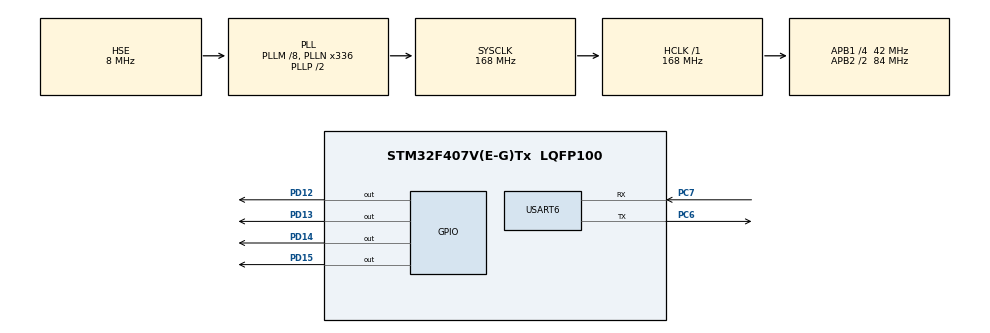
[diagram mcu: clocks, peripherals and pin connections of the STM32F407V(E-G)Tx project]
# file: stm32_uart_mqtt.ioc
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Mcu.Family=STM32F4
Mcu.Name=STM32F407V(E-G)Tx
Mcu.Package=LQFP100
NVIC.PriorityGroup=NVIC_PRIORITYGROUP_0
NVIC.USART6_IRQn=true\:0\:0\:false\:false\:true\:true
PC6.Mode=Asynchronous
PC6.Signal=USART6_TX
PC7.Mode=Asynchronous
PC7.Signal=USART6_RX
PD12.Signal=GPIO_Output
PD13.Signal=GPIO_Output
PD14.Signal=GPIO_Output
PD15.Signal=GPIO_Output
PH0-OSC_IN.Mode=HSE-External-Oscillator
PH0-OSC_IN.Signal=RCC_OSC_IN
PH1-OSC_OUT.Mode=HSE-External-Oscillator
PH1-OSC_OUT.Signal=RCC_OSC_OUT
ProjectManager.HeapSize=0x200
ProjectManager.StackSize=0x400
ProjectManager.TargetToolchain=SW4STM32
RCC.48MHZClocksFreq_Value=48000000
RCC.AHBFreq_Value=168000000
RCC.APB1CLKDivider=RCC_HCLK_DIV4
RCC.APB1Freq_Value=42000000
RCC.APB1TimFreq_Value=84000000
RCC.APB2CLKDivider=RCC_HCLK_DIV2
RCC.APB2Freq_Value=84000000
RCC.APB2TimFreq_Value=168000000
RCC.CortexFreq_Value=168000000
RCC.HCLKFreq_Value=168000000
RCC.HSE_VALUE=8000000
RCC.HSI_VALUE=16000000
RCC.LSE_VALUE=32768
RCC.PLLM=8
RCC.PLLN=336
RCC.PLLQ=7
RCC.PLLSourceVirtual=RCC_PLLSOURCE_HSE
RCC.SYSCLKFreq_VALUE=168000000
RCC.SYSCLKSource=RCC_SYSCLKSOURCE_PLLCLK
RCC.VCOOutputFreq_Value=336000000
USART6.VirtualMode=VM_ASYNC
board=STM32F4DISCOVERY

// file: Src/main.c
/**
 ******************************************************************************
 * File Name          : main.c
 * Description        : Main program body
 ******************************************************************************
 ** This notice applies to any and all portions of this file
 * that are not between comment pairs USER CODE BEGIN and
 * USER CODE END. Other portions of this file, whether
 * inserted by the user or by software development tools
 * are owned by their respective copyright owners.
 *
 * COPYRIGHT(c) 2017 STMicroelectronics
 *
 * Redistribution and use in source and binary forms, with or without modification,
 * are permitted provided that the following conditions are met:
 *   1. Redistributions of source code must retain the above copyright notice,
 *      this list of conditions and the following disclaimer.
 *   2. Redistributions in binary form must reproduce the above copyright notice,
 *      this list of conditions and the following disclaimer in the documentation
 *      and/or other materials provided with the distribution.
 *   3. Neither the name of STMicroelectronics nor the names of its contributors
 *      may be used to endorse or promote products derived from this software
 *      without specific prior written permission.
 *
 * THIS SOFTWARE IS PROVIDED BY THE COPYRIGHT HOLDERS AND CONTRIBUTORS "AS IS"
 * AND ANY EXPRESS OR IMPLIED WARRANTIES, INCLUDING, BUT NOT LIMITED TO, THE
 * IMPLIED WARRANTIES OF MERCHANTABILITY AND FITNESS FOR A PARTICULAR PURPOSE ARE
 * DISCLAIMED. IN NO EVENT SHALL THE COPYRIGHT HOLDER OR CONTRIBUTORS BE LIABLE
 * FOR ANY DIRECT, INDIRECT, INCIDENTAL, SPECIAL, EXEMPLARY, OR CONSEQUENTIAL
 * DAMAGES (INCLUDING, BUT NOT LIMITED TO, PROCUREMENT OF SUBSTITUTE GOODS OR
 * SERVICES; LOSS OF USE, DATA, OR PROFITS; OR BUSINESS INTERRUPTION) HOWEVER
 * CAUSED AND ON ANY THEORY OF LIABILITY, WHETHER IN CONTRACT, STRICT LIABILITY,
 * OR TORT (INCLUDING NEGLIGENCE OR OTHERWISE) ARISING IN ANY WAY OUT OF THE USE
 * OF THIS SOFTWARE, EVEN IF ADVISED OF THE POSSIBILITY OF SUCH DAMAGE.
 *
 ******************************************************************************
 */

#include "main.h"
#include "stm32f4xx_hal.h"

/* USER CODE BEGIN Includes */
/* Size of buffer */
#define TXBUFFERSIZE                      (COUNTOF(aTxBuffer) - 1)
#define COUNTOF(__BUFFER__)   (sizeof(__BUFFER__) / sizeof(*(__BUFFER__)))
/* USER CODE END Includes */

UART_HandleTypeDef huart6;

/* USER CODE BEGIN PV */
/* Private variables ---------------------------------------------------------*/
__IO ITStatus UartReady = RESET;
uint8_t TxRxData[5] = "12345";
/* USER CODE END PV */

void SystemClock_Config(void);
static void MX_GPIO_Init(void);
static void MX_USART6_UART_Init(void);

/* USER CODE BEGIN PFP */
/* Private function prototypes -----------------------------------------------*/

/* USER CODE END PFP */

int main(void)
{

	/* MCU Configuration----------------------------------------------------------*/

	/* Reset of all peripherals, Initializes the Flash interface and the Systick. */
	HAL_Init();

	/* Configure the system clock */
	SystemClock_Config();

	/* Initialize all configured peripherals */
	MX_GPIO_Init();
	MX_USART6_UART_Init();

	/* USER CODE BEGIN 2 */
	/* Reset transmission flag */
	UartReady = RESET;
	/* USER CODE END 2 */

	/* Infinite loop */
	while (1)
	{

		/* USER CODE BEGIN 3 */
		//HAL_UART_Transmit_IT(&huart6, TxRxData, 5);
		if(HAL_UART_Receive_IT(&huart6, TxRxData, 5) != HAL_OK)
		{
			Error_Handler();
		}
		while (UartReady != SET);

		HAL_GPIO_WritePin(GPIOD, GPIO_PIN_12, TxRxData[1]-0x30);
		HAL_GPIO_WritePin(GPIOD, GPIO_PIN_13, TxRxData[2]-0x30);
		HAL_GPIO_WritePin(GPIOD, GPIO_PIN_14, TxRxData[3]-0x30);
		HAL_GPIO_WritePin(GPIOD, GPIO_PIN_15, TxRxData[4]-0x30);

		/* Reset transmission flag */
		UartReady = RESET;

		if(HAL_UART_Transmit_IT(&huart6, TxRxData, 5) != HAL_OK)
		{
			Error_Handler();
		}
		while (UartReady != SET);

		/* Reset transmission flag */
		UartReady = RESET;

	}
	/* USER CODE END 3 */

}

/** System Clock Configuration
 */
void SystemClock_Config(void)
{

	RCC_OscInitTypeDef RCC_OscInitStruct;
	RCC_ClkInitTypeDef RCC_ClkInitStruct;

	/**Configure the main internal regulator output voltage
	 */
	__HAL_RCC_PWR_CLK_ENABLE();

	__HAL_PWR_VOLTAGESCALING_CONFIG(PWR_REGULATOR_VOLTAGE_SCALE1);

	/**Initializes the CPU, AHB and APB busses clocks
	 */
	RCC_OscInitStruct.OscillatorType = RCC_OSCILLATORTYPE_HSE;
	RCC_OscInitStruct.HSEState = RCC_HSE_ON;
	RCC_OscInitStruct.PLL.PLLState = RCC_PLL_ON;
	RCC_OscInitStruct.PLL.PLLSource = RCC_PLLSOURCE_HSE;
	RCC_OscInitStruct.PLL.PLLM = 8;
	RCC_OscInitStruct.PLL.PLLN = 336;
	RCC_OscInitStruct.PLL.PLLP = RCC_PLLP_DIV2;
	RCC_OscInitStruct.PLL.PLLQ = 7;
	if (HAL_RCC_OscConfig(&RCC_OscInitStruct) != HAL_OK)
	{
		_Error_Handler(__FILE__, __LINE__);
	}

	/**Initializes the CPU, AHB and APB busses clocks
	 */
	RCC_ClkInitStruct.ClockType = RCC_CLOCKTYPE_HCLK|RCC_CLOCKTYPE_SYSCLK
			|RCC_CLOCKTYPE_PCLK1|RCC_CLOCKTYPE_PCLK2;
	RCC_ClkInitStruct.SYSCLKSource = RCC_SYSCLKSOURCE_PLLCLK;
	RCC_ClkInitStruct.AHBCLKDivider = RCC_SYSCLK_DIV1;
	RCC_ClkInitStruct.APB1CLKDivider = RCC_HCLK_DIV4;
	RCC_ClkInitStruct.APB2CLKDivider = RCC_HCLK_DIV2;

	if (HAL_RCC_ClockConfig(&RCC_ClkInitStruct, FLASH_LATENCY_5) != HAL_OK)
	{
		_Error_Handler(__FILE__, __LINE__);
	}

	/**Configure the Systick interrupt time
	 */
	HAL_SYSTICK_Config(HAL_RCC_GetHCLKFreq()/1000);

	/**Configure the Systick
	 */
	HAL_SYSTICK_CLKSourceConfig(SYSTICK_CLKSOURCE_HCLK);

	/* SysTick_IRQn interrupt configuration */
	HAL_NVIC_SetPriority(SysTick_IRQn, 0, 0);
}

/* USART6 init function */
static void MX_USART6_UART_Init(void)
{

	huart6.Instance = USART6;
	huart6.Init.BaudRate = 115200;
	huart6.Init.WordLength = UART_WORDLENGTH_8B;
	huart6.Init.StopBits = UART_STOPBITS_1;
	huart6.Init.Parity = UART_PARITY_NONE;
	huart6.Init.Mode = UART_MODE_TX_RX;
	huart6.Init.HwFlowCtl = UART_HWCONTROL_NONE;
	huart6.Init.OverSampling = UART_OVERSAMPLING_16;
	if (HAL_UART_Init(&huart6) != HAL_OK)
	{
		_Error_Handler(__FILE__, __LINE__);
	}

}

/** Configure pins as
 * Analog
 * Input
 * Output
 * EVENT_OUT
 * EXTI
 */
static void MX_GPIO_Init(void)
{

	GPIO_InitTypeDef GPIO_InitStruct;

	/* GPIO Ports Clock Enable */
	__HAL_RCC_GPIOH_CLK_ENABLE();
	__HAL_RCC_GPIOD_CLK_ENABLE();
	__HAL_RCC_GPIOC_CLK_ENABLE();

	/*Configure GPIO pin Output Level */
	HAL_GPIO_WritePin(GPIOD, GPIO_PIN_12|GPIO_PIN_13|GPIO_PIN_14|GPIO_PIN_15, GPIO_PIN_RESET);

	/*Configure GPIO pins : PD12 PD13 PD14 PD15 */
	GPIO_InitStruct.Pin = GPIO_PIN_12|GPIO_PIN_13|GPIO_PIN_14|GPIO_PIN_15;
	GPIO_InitStruct.Mode = GPIO_MODE_OUTPUT_PP;
	GPIO_InitStruct.Pull = GPIO_NOPULL;
	GPIO_InitStruct.Speed = GPIO_SPEED_FREQ_LOW;
	HAL_GPIO_Init(GPIOD, &GPIO_InitStruct);

}

/* USER CODE BEGIN 4 */
void HAL_UART_TxCpltCallback(UART_HandleTypeDef *UartHandle)
{
	/* Set transmission flag: transfer complete */
	UartReady = SET;
}

void HAL_UART_RxCpltCallback(UART_HandleTypeDef *UartHandle)
{
	/* Set transmission flag: transfer complete */
	UartReady = SET;
}

void HAL_UART_ErrorCallback(UART_HandleTypeDef *UartHandle)
{
	/* Turn LED3 on: Transfer error in reception/transmission process */
	for(;;);
}
/* USER CODE END 4 */

void _Error_Handler(char * file, int line)
{
	while(1)
	{
	}
}

/************************ (C) COPYRIGHT STMicroelectronics *****END OF FILE****/
